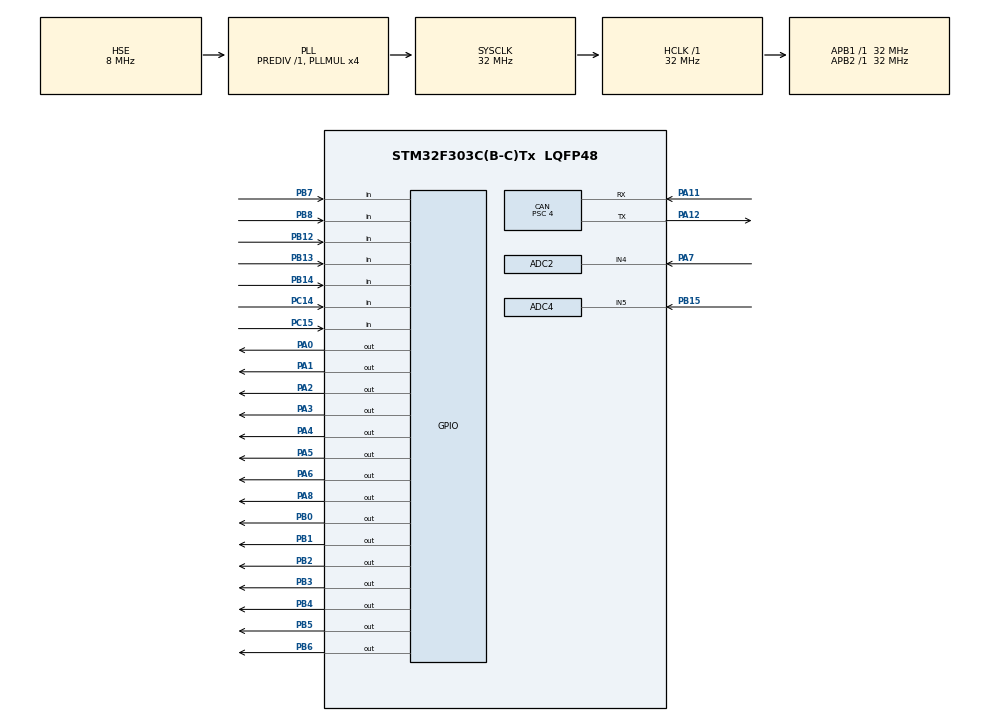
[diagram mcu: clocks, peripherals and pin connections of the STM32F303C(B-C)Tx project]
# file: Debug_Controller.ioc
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ADC2.Channel-3\#ChannelRegularConversion=ADC_CHANNEL_4
ADC2.DataAlign=ADC_DATAALIGN_LEFT
ADC2.NbrOfConversionFlag=1
ADC2.Offset-3\#ChannelRegularConversion=0
ADC2.OffsetNumber-3\#ChannelRegularConversion=ADC_OFFSET_NONE
ADC2.Rank-3\#ChannelRegularConversion=1
ADC2.Resolution=ADC_RESOLUTION_8B
ADC2.SamplingTime-3\#ChannelRegularConversion=ADC_SAMPLETIME_1CYCLE_5
ADC2.SamplingTimeOPAMP-3\#ChannelRegularConversion=ADC_SAMPLETIME_19CYCLES_5
ADC4.Channel-0\#ChannelRegularConversion=ADC_CHANNEL_5
ADC4.NbrOfConversionFlag=1
ADC4.Offset-0\#ChannelRegularConversion=0
ADC4.OffsetNumber-0\#ChannelRegularConversion=ADC_OFFSET_NONE
ADC4.Rank-0\#ChannelRegularConversion=1
ADC4.SamplingTime-0\#ChannelRegularConversion=ADC_SAMPLETIME_1CYCLE_5
ADC4.SamplingTimeOPAMP-0\#ChannelRegularConversion=ADC_SAMPLETIME_19CYCLES_5
CAN.BS1=CAN_BS1_5TQ
CAN.BS2=CAN_BS2_2TQ
CAN.CalculateBaudRate=1000000
CAN.CalculateTimeBit=1000
CAN.CalculateTimeQuantum=125.0
CAN.Prescaler=4
Mcu.Family=STM32F3
Mcu.Name=STM32F303C(B-C)Tx
Mcu.Package=LQFP48
NVIC.PriorityGroup=NVIC_PRIORITYGROUP_4
PA0.Signal=GPIO_Output
PA1.Signal=GPIO_Output
PA11.Mode=CAN_Activate
PA11.Signal=CAN_RX
PA12.Mode=CAN_Activate
PA12.Signal=CAN_TX
PA13.Mode=Serial_Wire
PA13.Signal=SYS_JTMS-SWDIO
PA14.Mode=Serial_Wire
PA14.Signal=SYS_JTCK-SWCLK
PA2.Signal=GPIO_Output
PA3.Signal=GPIO_Output
PA4.Signal=GPIO_Output
PA5.Signal=GPIO_Output
PA6.Signal=GPIO_Output
PA7.Mode=IN4-Single-Ended
PA7.Signal=ADC2_IN4
PA8.Signal=GPIO_Output
PB0.Signal=GPIO_Output
PB1.Signal=GPIO_Output
PB12.GPIO_PuPd=GPIO_PULLDOWN
PB12.Signal=GPIO_Input
PB13.GPIO_PuPd=GPIO_PULLDOWN
PB13.Signal=GPIO_Input
PB14.GPIO_PuPd=GPIO_PULLDOWN
PB14.Signal=GPIO_Input
PB15.Mode=IN5-Single-Ended
PB15.Signal=ADC4_IN5
PB2.Signal=GPIO_Output
PB3.Signal=GPIO_Output
PB4.Signal=GPIO_Output
PB5.Signal=GPIO_Output
PB6.Signal=GPIO_Output
PB7.GPIO_PuPd=GPIO_PULLDOWN
PB7.Signal=GPIO_Input
PB8.GPIO_PuPd=GPIO_PULLDOWN
PB8.Signal=GPIO_Input
PC14-OSC32_IN.GPIO_PuPd=GPIO_PULLDOWN
PC14-OSC32_IN.Signal=GPIO_Input
PC15-OSC32_OUT.GPIO_PuPd=GPIO_PULLDOWN
PC15-OSC32_OUT.Signal=GPIO_Input
PF0-OSC_IN.Mode=HSE-External-Oscillator
PF0-OSC_IN.Signal=RCC_OSC_IN
PF1-OSC_OUT.Mode=HSE-External-Oscillator
PF1-OSC_OUT.Signal=RCC_OSC_OUT
ProjectManager.HeapSize=0x200
ProjectManager.StackSize=0x400
ProjectManager.TargetToolchain=STM32CubeIDE
RCC.AHBFreq_Value=32000000
RCC.APB1Freq_Value=32000000
RCC.APB1TimFreq_Value=32000000
RCC.APB2Freq_Value=32000000
RCC.APB2TimFreq_Value=32000000
RCC.CortexFreq_Value=32000000
RCC.HCLKFreq_Value=32000000
RCC.HSE_VALUE=8000000
RCC.HSI_VALUE=8000000
RCC.LSE_VALUE=32768
RCC.PLLMUL=RCC_PLL_MUL4
RCC.PLLSourceVirtual=RCC_PLLSOURCE_HSE
RCC.SYSCLKFreq_VALUE=32000000
RCC.SYSCLKSourceVirtual=RCC_SYSCLKSOURCE_PLLCLK
RCC.USBFreq_Value=32000000
board=custom

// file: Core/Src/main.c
/* USER CODE BEGIN Header */
/**
  ******************************************************************************
  * @file           : main.c
  * @brief          : Main program body
  ******************************************************************************
  * @attention
  *
  * Copyright (c) 2024 STMicroelectronics.
  * All rights reserved.
  *
  * This software is licensed under terms that can be found in the LICENSE file
  * in the root directory of this software component.
  * If no LICENSE file comes with this software, it is provided AS-IS.
  *
  ******************************************************************************
  */
/* USER CODE END Header */
#include "main.h"

/* USER CODE BEGIN Includes */
#include <string.h>
#include <math.h>
/* USER CODE END Includes */

/* USER CODE BEGIN PD */
#define CAN_ID 0b0001

#define CAN_ID_MASK 		0b00000000000011110000000000000000
#define CAN_ACTUATOR_MASK 	0b00000000000000001111000000000000

// The number of data bytes in the CAN data frames (float32 values).
#define CAN_DATA_SIZE 4

//Joystick dead zone size as ratio of joystick range (must be < 1 and positive).
#define DEAD_ZONE_SIZE 0.15
#define MOTOR_SPEED_MAX (4*M_PI)
/* USER CODE END PD */

ADC_HandleTypeDef hadc2;
ADC_HandleTypeDef hadc4;

CAN_HandleTypeDef hcan;

void SystemClock_Config(void);
static void MX_GPIO_Init(void);
static void MX_CAN_Init(void);
static void MX_ADC2_Init(void);
static void MX_ADC4_Init(void);
/* USER CODE BEGIN PFP */

	float map(float x,float minVal, float maxVal, float nMin, float nMax);

/* USER CODE END PFP */

/* USER CODE BEGIN 0 */
void CAN_Transmit(
    CAN_HandleTypeDef* hcan,
    CAN_TxHeaderTypeDef* CAN_TxHeader,
    uint32_t* CAN_TxMailbox);
// Initializes the CANBus filter for the board.
void CAN_Filter(CAN_HandleTypeDef* hcan, CAN_TxHeaderTypeDef* CAN_TxHeader);

/* USER CODE END 0 */

int main(void)
{

  /* MCU Configuration--------------------------------------------------------*/

  /* Reset of all peripherals, Initializes the Flash interface and the Systick. */
  HAL_Init();

  /* Configure the system clock */
  SystemClock_Config();

  /* Initialize all configured peripherals */
  MX_GPIO_Init();
  MX_CAN_Init();
  MX_ADC2_Init();
  MX_ADC4_Init();
  /* USER CODE BEGIN 2 */

  	uint8_t displaying_number = 0;
  	uint8_t displaying_number2 = 0;
  	int digits[10] = {0x3F,0x06,0x5B,0x4F,0x66,0x6D,0x7D,0x07,0x7F,0x6F};
  	uint8_t mode = 0;   // Variable that will store the current mode

  	CAN_TxHeaderTypeDef CAN_TxHeader; // The transmission header.
  	CAN_RxHeaderTypeDef CAN_RxHeader; // The receiver header.
  	uint32_t CAN_TxMailbox = 0;
  	uint8_t CAN_TxData[CAN_DATA_SIZE] = {};
  	uint8_t CAN_RxData[CAN_DATA_SIZE] = {};
  	CAN_Filter(&hcan, &CAN_TxHeader); // Initializing the CANbus filter
  	HAL_CAN_Start(&hcan);

  	uint8_t speedySelect = 0;
  	uint8_t actuatorSelect = 0;
  	uint8_t debugId = 15;
  	uint8_t priority = 0;
  	uint8_t commandId = 0x03;

  // Turn off all of the segments initially, then display 0 --> 0x7F
  HAL_GPIO_WritePin(GPIOA,0x7F,GPIO_PIN_SET);
  HAL_GPIO_WritePin(GPIOA,digits[displaying_number], GPIO_PIN_RESET);

  // NEW code for 2nd display
  HAL_GPIO_WritePin(GPIOB,0x7F,GPIO_PIN_SET);
  HAL_GPIO_WritePin(GPIOB,digits[displaying_number2], GPIO_PIN_RESET);

  uint32_t readXval; // Joystick X-axis Value
  uint32_t readYval;
  HAL_ADC_Start(&hadc2); // Start ADC2 for the channel corresponding to PA7
  HAL_ADC_Start(&hadc4);
 // HAL_TIM_PWM_Start(&htim2, TIM_CHANNEL_3);
  /* USER CODE END 2 */

  /* Infinite loop */
  /* USER CODE BEGIN WHILE */
  while (1)
  {

//read each pins of the slide switch to determine position of the switch, each position will correspond to a mode 1-4

	  if(HAL_GPIO_ReadPin(GPIOB, GPIO_PIN_12) == GPIO_PIN_SET){
		  mode = 1;
	  } else if(HAL_GPIO_ReadPin(GPIOB,GPIO_PIN_13)== GPIO_PIN_SET){
		  mode = 2;
	  } else if(HAL_GPIO_ReadPin(GPIOB,GPIO_PIN_14)== GPIO_PIN_SET){
		  mode = 3;
	 // } else if(HAL_GPIO_ReadPin(GPIOB,GPIO_PIN_15)== GPIO_PIN_SET){
		//  mode = 4;
	  }

	  switch(mode)
	  {

	  case 1: {

// Incrementing button #1
	  if(HAL_GPIO_ReadPin(GPIOC, GPIO_PIN_15) == GPIO_PIN_SET){
		  HAL_Delay(50);   // Debounce delay --> checking twice to ensure button is pressed

		  if(HAL_GPIO_ReadPin(GPIOC, GPIO_PIN_15) == GPIO_PIN_SET){
			  if(displaying_number < 9){
				  displaying_number++;
		  }

//Turn off all segments
			  HAL_GPIO_WritePin(GPIOA,0x7F,GPIO_PIN_SET);
			  HAL_Delay(10);
//Set new digit
			  HAL_GPIO_WritePin(GPIOA,digits[displaying_number],GPIO_PIN_RESET);
			  HAL_Delay(100);
		  	  }
	  }

	  if(HAL_GPIO_ReadPin(GPIOC, GPIO_PIN_14) == GPIO_PIN_SET){

		  HAL_Delay(50);
		  if(HAL_GPIO_ReadPin(GPIOC, GPIO_PIN_14) == GPIO_PIN_SET){

			  if(displaying_number > 0){
				  displaying_number--;
		}

			  HAL_GPIO_WritePin(GPIOA,0x7F,GPIO_PIN_SET);
//Turn off all segments
			  HAL_Delay(10);
//Set new digit
			  HAL_GPIO_WritePin(GPIOA,digits[displaying_number],GPIO_PIN_RESET);
			  HAL_Delay(100);
}
}
// 2nd Button incrementer

	  if(HAL_GPIO_ReadPin(GPIOB, GPIO_PIN_7) == GPIO_PIN_SET){
	  		  HAL_Delay(50);   // Debounce delay --> checking twice to ensure button is pressed

	  		  if(HAL_GPIO_ReadPin(GPIOB, GPIO_PIN_7) == GPIO_PIN_SET){
	  			  if(displaying_number2 < 9){
	  				  displaying_number2++;
	  		  }

//Turn off all segments
	  			  HAL_GPIO_WritePin(GPIOB,0x7F,GPIO_PIN_SET);
	  			  HAL_Delay(10);
//Set new digit
	  			  HAL_GPIO_WritePin(GPIOB,digits[displaying_number2],GPIO_PIN_RESET);
	  			  HAL_Delay(100);
	  		  	  }
	  	  }

//2nd button decrementer
	  if(HAL_GPIO_ReadPin(GPIOB, GPIO_PIN_8) == GPIO_PIN_SET){

	  		  HAL_Delay(50);
	  		  if(HAL_GPIO_ReadPin(GPIOB, GPIO_PIN_8) == GPIO_PIN_SET){

	  			  if(displaying_number2 > 0){
	  				  displaying_number2--;
	  		}

	  			  HAL_GPIO_WritePin(GPIOB,0x7F,GPIO_PIN_SET);
// Turn off all segments
	  			  HAL_Delay(10);
//Set new digit
	  			  HAL_GPIO_WritePin(GPIOB,digits[displaying_number2],GPIO_PIN_RESET);
	  			  HAL_Delay(100);

	  }
	  }

	  			  HAL_ADC_PollForConversion(&hadc2, 100); // Wait for ADC2 to complete conversion
	  			  readXval = HAL_ADC_GetValue(&hadc2);  // Read the ADC value from PA7

	  			  HAL_ADC_PollForConversion(&hadc4, 100); // Wait for ADC4 to complete conversion
	  			  readYval = HAL_ADC_GetValue(&hadc4);  // Read the ADC value from PB15

	  			  float data = -map((float)readXval, 0, 200, -1, 1);

	  			  float newData = map((float)readYval, 0, 4095, -200, 200);   // for left joystick

	  			  if(data < -DEAD_ZONE_SIZE){
	  				  data = (data+DEAD_ZONE_SIZE)/(1-DEAD_ZONE_SIZE);
	  			  } else if(data > DEAD_ZONE_SIZE){
	  				  data = (data-DEAD_ZONE_SIZE)/(1-DEAD_ZONE_SIZE);;
	  			  } else {
	  				  data = 0;
	  			  }
	  			  //data *= MOTOR_SPEED_MAX;

	  			  if(-50 < newData && newData < 50){   // deadzone for left joystick
	  				  newData = 0;
	  			  }

	  			  uint32_t data2;
				  uint32_t newData2;

	  			  memcpy(&newData2, &newData, sizeof newData2);  // left joystick
	  			  memcpy(&data2, &data, sizeof data2);

	  			 speedySelect = displaying_number2;
	  			 actuatorSelect = displaying_number;

	  			 CAN_TxData[0] = data2>>24;
	  			 CAN_TxData[1] = data2>>16;
	  			 CAN_TxData[2] = data2>>8;
	  			 CAN_TxData[3] = data2;

	  			 //CAN_TxData[4] = newData2>>24;
	  			 //CAN_TxData[5] = newData2>>16;
	  			 //CAN_TxData[6] = newData2>>8;
	  		     //CAN_TxData[7] = newData2;

	  			 CAN_TxHeader.ExtId = priority<<24|commandId<<16|speedySelect<<12|actuatorSelect<<8|debugId<<4;

	  			 HAL_CAN_AddTxMessage(&hcan, &CAN_TxHeader,CAN_TxData, &CAN_TxMailbox);

	  	  }

	  	  break;

	  case 2:
		  break;
	  case 3:
		  break;
	  case 4:
		  break;
	  default:
		  break;

  }

  }

    /* USER CODE END WHILE */

}

void SystemClock_Config(void)
{
  RCC_OscInitTypeDef RCC_OscInitStruct = {0};
  RCC_ClkInitTypeDef RCC_ClkInitStruct = {0};
  RCC_PeriphCLKInitTypeDef PeriphClkInit = {0};

  /** Initializes the RCC Oscillators according to the specified parameters
  * in the RCC_OscInitTypeDef structure.
  */
  RCC_OscInitStruct.OscillatorType = RCC_OSCILLATORTYPE_HSE;
  RCC_OscInitStruct.HSEState = RCC_HSE_ON;
  RCC_OscInitStruct.HSEPredivValue = RCC_HSE_PREDIV_DIV1;
  RCC_OscInitStruct.HSIState = RCC_HSI_ON;
  RCC_OscInitStruct.PLL.PLLState = RCC_PLL_ON;
  RCC_OscInitStruct.PLL.PLLSource = RCC_PLLSOURCE_HSE;
  RCC_OscInitStruct.PLL.PLLMUL = RCC_PLL_MUL4;
  if (HAL_RCC_OscConfig(&RCC_OscInitStruct) != HAL_OK)
  {
    Error_Handler();
  }

  /** Initializes the CPU, AHB and APB buses clocks
  */
  RCC_ClkInitStruct.ClockType = RCC_CLOCKTYPE_HCLK|RCC_CLOCKTYPE_SYSCLK
                              |RCC_CLOCKTYPE_PCLK1|RCC_CLOCKTYPE_PCLK2;
  RCC_ClkInitStruct.SYSCLKSource = RCC_SYSCLKSOURCE_PLLCLK;
  RCC_ClkInitStruct.AHBCLKDivider = RCC_SYSCLK_DIV1;
  RCC_ClkInitStruct.APB1CLKDivider = RCC_HCLK_DIV1;
  RCC_ClkInitStruct.APB2CLKDivider = RCC_HCLK_DIV1;

  if (HAL_RCC_ClockConfig(&RCC_ClkInitStruct, FLASH_LATENCY_1) != HAL_OK)
  {
    Error_Handler();
  }
  PeriphClkInit.PeriphClockSelection = RCC_PERIPHCLK_ADC12|RCC_PERIPHCLK_ADC34;
  PeriphClkInit.Adc12ClockSelection = RCC_ADC12PLLCLK_DIV1;
  PeriphClkInit.Adc34ClockSelection = RCC_ADC34PLLCLK_DIV1;
  if (HAL_RCCEx_PeriphCLKConfig(&PeriphClkInit) != HAL_OK)
  {
    Error_Handler();
  }
}

static void MX_ADC2_Init(void)
{

  ADC_ChannelConfTypeDef sConfig = {0};

  /** Common config
  */
  hadc2.Instance = ADC2;
  hadc2.Init.ClockPrescaler = ADC_CLOCK_ASYNC_DIV1;
  hadc2.Init.Resolution = ADC_RESOLUTION_8B;
  hadc2.Init.ScanConvMode = ADC_SCAN_DISABLE;
  hadc2.Init.ContinuousConvMode = ENABLE;
  hadc2.Init.DiscontinuousConvMode = DISABLE;
  hadc2.Init.ExternalTrigConvEdge = ADC_EXTERNALTRIGCONVEDGE_NONE;
  hadc2.Init.ExternalTrigConv = ADC_SOFTWARE_START;
  hadc2.Init.DataAlign = ADC_DATAALIGN_RIGHT;
  hadc2.Init.NbrOfConversion = 1;
  hadc2.Init.DMAContinuousRequests = DISABLE;
  hadc2.Init.EOCSelection = ADC_EOC_SINGLE_CONV;
  hadc2.Init.LowPowerAutoWait = DISABLE;
  hadc2.Init.Overrun = ADC_OVR_DATA_OVERWRITTEN;
  if (HAL_ADC_Init(&hadc2) != HAL_OK)
  {
    Error_Handler();
  }

  /** Configure Regular Channel
  */
  sConfig.Channel = ADC_CHANNEL_4;
  sConfig.Rank = ADC_REGULAR_RANK_1;
  sConfig.SingleDiff = ADC_SINGLE_ENDED;
  sConfig.SamplingTime = ADC_SAMPLETIME_1CYCLE_5;
  sConfig.OffsetNumber = ADC_OFFSET_NONE;
  sConfig.Offset = 0;
  if (HAL_ADC_ConfigChannel(&hadc2, &sConfig) != HAL_OK)
  {
    Error_Handler();
  }

}

static void MX_ADC4_Init(void)
{

  ADC_ChannelConfTypeDef sConfig = {0};

  /** Common config
  */
  hadc4.Instance = ADC4;
  hadc4.Init.ClockPrescaler = ADC_CLOCK_ASYNC_DIV1;
  hadc4.Init.Resolution = ADC_RESOLUTION_12B;
  hadc4.Init.ScanConvMode = ADC_SCAN_DISABLE;
  hadc4.Init.ContinuousConvMode = DISABLE;
  hadc4.Init.DiscontinuousConvMode = DISABLE;
  hadc4.Init.ExternalTrigConvEdge = ADC_EXTERNALTRIGCONVEDGE_NONE;
  hadc4.Init.ExternalTrigConv = ADC_SOFTWARE_START;
  hadc4.Init.DataAlign = ADC_DATAALIGN_RIGHT;
  hadc4.Init.NbrOfConversion = 1;
  hadc4.Init.DMAContinuousRequests = DISABLE;
  hadc4.Init.EOCSelection = ADC_EOC_SINGLE_CONV;
  hadc4.Init.LowPowerAutoWait = DISABLE;
  hadc4.Init.Overrun = ADC_OVR_DATA_OVERWRITTEN;
  if (HAL_ADC_Init(&hadc4) != HAL_OK)
  {
    Error_Handler();
  }

  /** Configure Regular Channel
  */
  sConfig.Channel = ADC_CHANNEL_5;
  sConfig.Rank = ADC_REGULAR_RANK_1;
  sConfig.SingleDiff = ADC_SINGLE_ENDED;
  sConfig.SamplingTime = ADC_SAMPLETIME_1CYCLE_5;
  sConfig.OffsetNumber = ADC_OFFSET_NONE;
  sConfig.Offset = 0;
  if (HAL_ADC_ConfigChannel(&hadc4, &sConfig) != HAL_OK)
  {
    Error_Handler();
  }

}

static void MX_CAN_Init(void)
{

  hcan.Instance = CAN;
  hcan.Init.Prescaler = 4;
  hcan.Init.Mode = CAN_MODE_NORMAL;
  hcan.Init.SyncJumpWidth = CAN_SJW_1TQ;
  hcan.Init.TimeSeg1 = CAN_BS1_5TQ;
  hcan.Init.TimeSeg2 = CAN_BS2_2TQ;
  hcan.Init.TimeTriggeredMode = DISABLE;
  hcan.Init.AutoBusOff = DISABLE;
  hcan.Init.AutoWakeUp = DISABLE;
  hcan.Init.AutoRetransmission = DISABLE;
  hcan.Init.ReceiveFifoLocked = DISABLE;
  hcan.Init.TransmitFifoPriority = DISABLE;
  if (HAL_CAN_Init(&hcan) != HAL_OK)
  {
    Error_Handler();
  }

}

static void MX_GPIO_Init(void)
{
  GPIO_InitTypeDef GPIO_InitStruct = {0};

  /* GPIO Ports Clock Enable */
  __HAL_RCC_GPIOC_CLK_ENABLE();
  __HAL_RCC_GPIOF_CLK_ENABLE();
  __HAL_RCC_GPIOA_CLK_ENABLE();
  __HAL_RCC_GPIOB_CLK_ENABLE();

  /*Configure GPIO pin Output Level */
  HAL_GPIO_WritePin(GPIOA, GPIO_PIN_0|GPIO_PIN_1|GPIO_PIN_2|GPIO_PIN_3
                          |GPIO_PIN_4|GPIO_PIN_5|GPIO_PIN_6|GPIO_PIN_8, GPIO_PIN_RESET);

  /*Configure GPIO pin Output Level */
  HAL_GPIO_WritePin(GPIOB, GPIO_PIN_0|GPIO_PIN_1|GPIO_PIN_2|GPIO_PIN_3
                          |GPIO_PIN_4|GPIO_PIN_5|GPIO_PIN_6, GPIO_PIN_RESET);

  /*Configure GPIO pins : PC14 PC15 */
  GPIO_InitStruct.Pin = GPIO_PIN_14|GPIO_PIN_15;
  GPIO_InitStruct.Mode = GPIO_MODE_INPUT;
  GPIO_InitStruct.Pull = GPIO_PULLDOWN;
  HAL_GPIO_Init(GPIOC, &GPIO_InitStruct);

  /*Configure GPIO pins : PA0 PA1 PA2 PA3
                           PA4 PA5 PA6 PA8 */
  GPIO_InitStruct.Pin = GPIO_PIN_0|GPIO_PIN_1|GPIO_PIN_2|GPIO_PIN_3
                          |GPIO_PIN_4|GPIO_PIN_5|GPIO_PIN_6|GPIO_PIN_8;
  GPIO_InitStruct.Mode = GPIO_MODE_OUTPUT_PP;
  GPIO_InitStruct.Pull = GPIO_NOPULL;
  GPIO_InitStruct.Speed = GPIO_SPEED_FREQ_LOW;
  HAL_GPIO_Init(GPIOA, &GPIO_InitStruct);

  /*Configure GPIO pins : PB0 PB1 PB2 PB3
                           PB4 PB5 PB6 */
  GPIO_InitStruct.Pin = GPIO_PIN_0|GPIO_PIN_1|GPIO_PIN_2|GPIO_PIN_3
                          |GPIO_PIN_4|GPIO_PIN_5|GPIO_PIN_6;
  GPIO_InitStruct.Mode = GPIO_MODE_OUTPUT_PP;
  GPIO_InitStruct.Pull = GPIO_NOPULL;
  GPIO_InitStruct.Speed = GPIO_SPEED_FREQ_LOW;
  HAL_GPIO_Init(GPIOB, &GPIO_InitStruct);

  /*Configure GPIO pins : PB12 PB13 PB14 PB7
                           PB8 */
  GPIO_InitStruct.Pin = GPIO_PIN_12|GPIO_PIN_13|GPIO_PIN_14|GPIO_PIN_7
                          |GPIO_PIN_8;
  GPIO_InitStruct.Mode = GPIO_MODE_INPUT;
  GPIO_InitStruct.Pull = GPIO_PULLDOWN;
  HAL_GPIO_Init(GPIOB, &GPIO_InitStruct);

}

/* USER CODE BEGIN 4 */

float map(float x,float minVal, float maxVal, float nMin, float nMax){

	 if (maxVal == minVal) return 0;

	    // Apply the mapping formula
	    return nMin + ((x - minVal) * (nMax - nMin)) / (maxVal - minVal);

}

void CAN_Filter(CAN_HandleTypeDef* hcan, CAN_TxHeaderTypeDef* CAN_TxHeader)
{ // This function initializes the CAN filter for the board.
  // The CANID ports are named for their respective address bits, i.e., 0 to the 0th bit.

    // Setting up the TxHeader
    CAN_TxHeader->IDE = CAN_ID_EXT; // Extended identifier, not the standard length.
    CAN_TxHeader->RTR = CAN_RTR_DATA; // Specifying data frames, not remote frames.
    CAN_TxHeader->DLC = CAN_DATA_SIZE; // CAN_SIZE_DATA; //The data size (5 bytes)
    CAN_TxHeader->ExtId = 0; // Needs to be changed depending on the frame

    // Setting the extended transmission header based on the CAN pins

    CAN_TxHeader->ExtId |= (uint32_t)(CAN_ID << 12);

    CAN_FilterTypeDef CAN_FILTER_CONFIG; // Declaring the filter structure.
    CAN_FILTER_CONFIG.FilterFIFOAssignment = CAN_FILTER_FIFO0; // Choosing the FIFO0 set.
    CAN_FILTER_CONFIG.FilterIdHigh = (uint32_t)(CAN_ID >> 1);
    CAN_FILTER_CONFIG.FilterIdLow = (uint32_t)((CAN_ID << 15) & 0xFFFF);
    CAN_FILTER_CONFIG.FilterMaskIdHigh = (uint32_t)(CAN_ID_MASK >> 16);
    CAN_FILTER_CONFIG.FilterMaskIdLow = (uint32_t)(CAN_ID_MASK & 0xFFFF);
    CAN_FILTER_CONFIG.FilterBank = 0;
    CAN_FILTER_CONFIG.FilterMode = CAN_FILTERMODE_IDMASK; // Using the mask mode to ignore certain bits.
    CAN_FILTER_CONFIG.FilterScale = CAN_FILTERSCALE_32BIT; // Using the extended ID so 32bit filters.
    CAN_FILTER_CONFIG.FilterActivation = CAN_FILTER_ENABLE; // Enabling the filter.
    HAL_CAN_ConfigFilter(hcan, &CAN_FILTER_CONFIG);
}
/* USER CODE END 4 */

void Error_Handler(void)
{
  __disable_irq();
  while (1)
  {
  }
}
